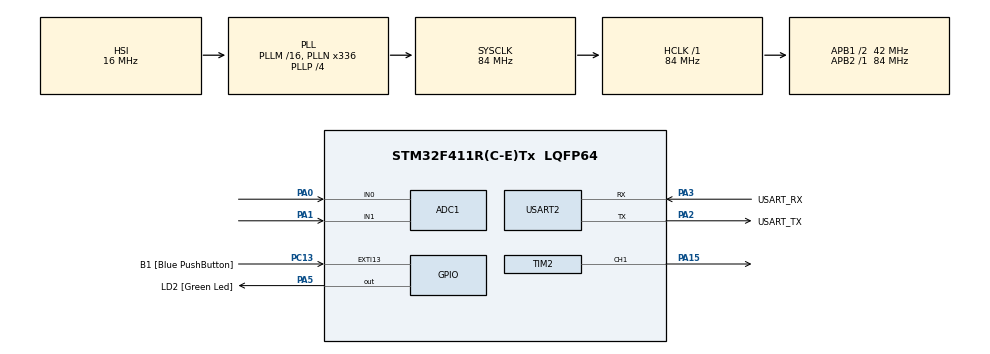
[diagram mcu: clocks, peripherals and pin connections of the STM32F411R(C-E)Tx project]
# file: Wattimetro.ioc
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ADC1.Channel-0\#ChannelRegularConversion=ADC_CHANNEL_0
ADC1.Channel-1\#ChannelInjectedConversion=ADC_CHANNEL_0
ADC1.Channel-2\#ChannelRegularConversion=ADC_CHANNEL_1
ADC1.DMAContinuousRequests=ENABLE
ADC1.EOCSelection=ADC_EOC_SINGLE_CONV
ADC1.ExternalTrigConv=ADC_EXTERNALTRIGCONV_T2_TRGO
ADC1.ExternalTrigConvEdge=ADC_EXTERNALTRIGCONVEDGE_FALLING
ADC1.ExternalTrigInjecConv=ADC_EXTERNALTRIGINJECCONV_T2_TRGO
ADC1.ExternalTrigInjecConvEdge=ADC_EXTERNALTRIGINJECCONVEDGE_RISING
ADC1.InjNumberOfConversion=1
ADC1.InjectedOffset-1\#ChannelInjectedConversion=0
ADC1.InjectedRank-1\#ChannelInjectedConversion=1
ADC1.NbrOfConversion=2
ADC1.NbrOfConversionFlag=1
ADC1.Rank-0\#ChannelRegularConversion=1
ADC1.Rank-2\#ChannelRegularConversion=2
ADC1.SamplingTime-0\#ChannelRegularConversion=ADC_SAMPLETIME_3CYCLES
ADC1.SamplingTime-1\#ChannelInjectedConversion=ADC_SAMPLETIME_3CYCLES
ADC1.SamplingTime-2\#ChannelRegularConversion=ADC_SAMPLETIME_3CYCLES
ADC1.master=1
Dma.ADC1.0.Direction=DMA_PERIPH_TO_MEMORY
Dma.ADC1.0.FIFOMode=DMA_FIFOMODE_ENABLE
Dma.ADC1.0.FIFOThreshold=DMA_FIFO_THRESHOLD_FULL
Dma.ADC1.0.Instance=DMA2_Stream0
Dma.ADC1.0.MemBurst=DMA_MBURST_SINGLE
Dma.ADC1.0.MemDataAlignment=DMA_MDATAALIGN_HALFWORD
Dma.ADC1.0.MemInc=DMA_MINC_ENABLE
Dma.ADC1.0.Mode=DMA_CIRCULAR
Dma.ADC1.0.PeriphBurst=DMA_PBURST_SINGLE
Dma.ADC1.0.PeriphDataAlignment=DMA_PDATAALIGN_HALFWORD
Dma.ADC1.0.PeriphInc=DMA_PINC_DISABLE
Dma.ADC1.0.Priority=DMA_PRIORITY_LOW
Dma.Request0=ADC1
Dma.Request1=USART2_TX
Dma.USART2_TX.1.Direction=DMA_MEMORY_TO_PERIPH
Dma.USART2_TX.1.FIFOMode=DMA_FIFOMODE_ENABLE
Dma.USART2_TX.1.FIFOThreshold=DMA_FIFO_THRESHOLD_FULL
Dma.USART2_TX.1.Instance=DMA1_Stream6
Dma.USART2_TX.1.MemBurst=DMA_MBURST_SINGLE
Dma.USART2_TX.1.MemDataAlignment=DMA_MDATAALIGN_BYTE
Dma.USART2_TX.1.MemInc=DMA_MINC_ENABLE
Dma.USART2_TX.1.Mode=DMA_NORMAL
Dma.USART2_TX.1.PeriphBurst=DMA_PBURST_SINGLE
Dma.USART2_TX.1.PeriphDataAlignment=DMA_PDATAALIGN_BYTE
Dma.USART2_TX.1.PeriphInc=DMA_PINC_DISABLE
Dma.USART2_TX.1.Priority=DMA_PRIORITY_LOW
Mcu.Family=STM32F4
Mcu.Name=STM32F411R(C-E)Tx
Mcu.Package=LQFP64
NVIC.DMA1_Stream6_IRQn=true\:0\:0\:false\:false\:true\:false\:true\:true
NVIC.DMA2_Stream0_IRQn=true\:0\:0\:false\:false\:true\:false\:true\:true
NVIC.PriorityGroup=NVIC_PRIORITYGROUP_0
NVIC.TIM1_UP_TIM10_IRQn=true\:0\:0\:false\:false\:true\:true\:true\:true
NVIC.USART2_IRQn=true\:0\:0\:false\:false\:true\:true\:true\:true
PA0-WKUP.Signal=ADCx_IN0
PA1.Signal=ADCx_IN1
PA13.GPIO_Label=TMS
PA13.Mode=Serial_Wire
PA13.Signal=SYS_JTMS-SWDIO
PA14.GPIO_Label=TCK
PA14.Mode=Serial_Wire
PA14.Signal=SYS_JTCK-SWCLK
PA15.Signal=S_TIM2_CH1_ETR
PA2.GPIO_Label=USART_TX
PA2.Mode=Asynchronous
PA2.Signal=USART2_TX
PA3.GPIO_Label=USART_RX
PA3.Mode=Asynchronous
PA3.Signal=USART2_RX
PA5.GPIO_Label=LD2 [Green Led]
PA5.Signal=GPIO_Output
PB3.GPIO_Label=SWO
PB3.Signal=SYS_JTDO-SWO
PC13-ANTI_TAMP.GPIO_Label=B1 [Blue PushButton]
PC13-ANTI_TAMP.GPIO_ModeDefaultEXTI=GPIO_MODE_IT_FALLING
PC13-ANTI_TAMP.Signal=GPXTI13
PC14-OSC32_IN.Mode=LSE-External-Oscillator
PC14-OSC32_IN.Signal=RCC_OSC32_IN
PC15-OSC32_OUT.Mode=LSE-External-Oscillator
PC15-OSC32_OUT.Signal=RCC_OSC32_OUT
PH0\ -\ OSC_IN.Mode=HSE-External-Clock-Source
PH0\ -\ OSC_IN.Signal=RCC_OSC_IN
PH1\ -\ OSC_OUT.Mode=HSE-External-Clock-Source
PH1\ -\ OSC_OUT.Signal=RCC_OSC_OUT
ProjectManager.HeapSize=0x200
ProjectManager.StackSize=0x400
ProjectManager.TargetToolchain=STM32CubeIDE
RCC.48MHZClocksFreq_Value=84000000
RCC.AHBFreq_Value=84000000
RCC.APB1CLKDivider=RCC_HCLK_DIV2
RCC.APB1Freq_Value=42000000
RCC.APB1TimFreq_Value=84000000
RCC.APB2Freq_Value=84000000
RCC.APB2TimFreq_Value=84000000
RCC.CortexFreq_Value=84000000
RCC.FLatency-AdvancedSettings=FLASH_LATENCY_2
RCC.HCLKFreq_Value=84000000
RCC.HSE_VALUE=8000000
RCC.HSI_VALUE=16000000
RCC.PLLN=336
RCC.PLLP=RCC_PLLP_DIV4
RCC.SYSCLKFreq_VALUE=84000000
RCC.SYSCLKSource=RCC_SYSCLKSOURCE_PLLCLK
RCC.VCOOutputFreq_Value=336000000
SH.ADCx_IN0.0=ADC1_IN0,IN0
SH.ADCx_IN1.0=ADC1_IN1,IN1
SH.S_TIM2_CH1_ETR.0=TIM2_CH1,Output Compare1 CH1
TIM10.Period=30000-1
TIM10.Prescaler=8400-1
TIM2.Channel-Output\ Compare1\ CH1=TIM_CHANNEL_1
TIM2.OCMode_1=TIM_OCMODE_TOGGLE
TIM2.Period=50-1
TIM2.Prescaler=840-1
TIM2.TIM_MasterOutputTrigger=TIM_TRGO_UPDATE
USART2.VirtualMode=VM_ASYNC
USART2.WordLength=WORDLENGTH_9B
VP_TIM10_VS_ClockSourceINT.Mode=Enable_Timer
VP_TIM2_VS_ClockSourceINT.Mode=Internal
board=NUCLEO-F411RE

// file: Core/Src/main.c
/* USER CODE BEGIN Header */
/**
  ******************************************************************************
  * @file           : main.c
  * @brief          : Main program body
  ******************************************************************************
  * @attention
  *
  * Copyright (c) 2023 STMicroelectronics.
  * All rights reserved.
  *
  * This software is licensed under terms that can be found in the LICENSE file
  * in the root directory of this software component.
  * If no LICENSE file comes with this software, it is provided AS-IS.
  *
  ******************************************************************************
  */
/* USER CODE END Header */
#include "main.h"
#include "adc.h"
#include "dma.h"
#include "tim.h"
#include "usart.h"
#include "gpio.h"

/* USER CODE BEGIN Includes */
#include <string.h>
#include <stdio.h>
/* USER CODE END Includes */

/* USER CODE BEGIN PD */
#define AMOSTRAS 64
#define TAM_MSG	300
#define ESCALA  (3.3/4095)
#define CANAIS 2
/* USER CODE END PD */

/* USER CODE BEGIN PM */
volatile uint16_t medidas[(AMOSTRAS/CANAIS)][CANAIS];
uint16_t msg[TAM_MSG];
uint32_t mediaCH0;
uint32_t mediaCH1;
float valorCH0;
float valorCH1;
float tensaoload;
float potencia;
float corrente;
float resistencia;
/* USER CODE END PM */

void SystemClock_Config(void);
/* USER CODE BEGIN PFP */
void HAL_ADC_ConvCpltCallback(ADC_HandleTypeDef* hadc)
{
	mediaCH1=medidas[0][1];
	mediaCH0=medidas[0][0];
	for(int i=1;i<(AMOSTRAS/CANAIS);i++)
	{
		mediaCH1+=medidas[i][1];
		mediaCH0+=medidas[i][0];
	}
	mediaCH0/=(AMOSTRAS/CANAIS);
	valorCH0=mediaCH0*ESCALA;

	mediaCH1/=(AMOSTRAS/CANAIS);
	valorCH1=mediaCH1*ESCALA;

	corrente=(valorCH1*100)*1.06;//mA
	tensaoload=((valorCH0*9.45)-valorCH1);//V
	potencia=(corrente*tensaoload)/1000;//W
	resistencia=(tensaoload/corrente)*1000;//Ohms
}
void HAL_TIM_PeriodElapsedCallback(TIM_HandleTypeDef *htim)
{
	if(htim->Instance == TIM10)
	{
		snprintf(msg,TAM_MSG," Tensao(LOAD) : %1.3f V\n\r Corrente(LOAD) : %1.3f mA\n\r Potencia(LOAD) : %1.3f W\n\r Resistencia(LOAD) : %.0f Ohms\r\n\n\n",tensaoload,corrente,potencia,resistencia);
		HAL_UART_Transmit_DMA(&huart2,msg,strlen(msg));
	}
}
/* USER CODE END PFP */

int main(void)
{

  /* MCU Configuration--------------------------------------------------------*/

  /* Reset of all peripherals, Initializes the Flash interface and the Systick. */
  HAL_Init();

  /* Configure the system clock */
  SystemClock_Config();

  /* Initialize all configured peripherals */
  MX_GPIO_Init();
  MX_DMA_Init();
  MX_USART2_UART_Init();
  MX_ADC1_Init();
  MX_TIM2_Init();
  MX_TIM10_Init();
  /* USER CODE BEGIN 2 */

  HAL_TIM_OC_Start(&htim2, TIM_CHANNEL_1);
  HAL_TIM_Base_Start_IT(&htim10);
  HAL_ADC_Start_DMA(&hadc1, (uint32_t*)medidas, AMOSTRAS);

  strncpy(msg," Wattimetro \r\n by Arthur Rodrigues Padilha & Bernardo Rodrigues da Silva/4411\n\n",TAM_MSG);
  HAL_UART_Transmit_DMA(&huart2, msg, strlen(msg));
  /* USER CODE END 2 */

  /* Infinite loop */
  while (1)
  {

  }
}

void SystemClock_Config(void)
{
  RCC_OscInitTypeDef RCC_OscInitStruct = {0};
  RCC_ClkInitTypeDef RCC_ClkInitStruct = {0};

  /** Configure the main internal regulator output voltage
  */
  __HAL_RCC_PWR_CLK_ENABLE();
  __HAL_PWR_VOLTAGESCALING_CONFIG(PWR_REGULATOR_VOLTAGE_SCALE1);

  /** Initializes the RCC Oscillators according to the specified parameters
  * in the RCC_OscInitTypeDef structure.
  */
  RCC_OscInitStruct.OscillatorType = RCC_OSCILLATORTYPE_HSI;
  RCC_OscInitStruct.HSIState = RCC_HSI_ON;
  RCC_OscInitStruct.HSICalibrationValue = RCC_HSICALIBRATION_DEFAULT;
  RCC_OscInitStruct.PLL.PLLState = RCC_PLL_ON;
  RCC_OscInitStruct.PLL.PLLSource = RCC_PLLSOURCE_HSI;
  RCC_OscInitStruct.PLL.PLLM = 16;
  RCC_OscInitStruct.PLL.PLLN = 336;
  RCC_OscInitStruct.PLL.PLLP = RCC_PLLP_DIV4;
  RCC_OscInitStruct.PLL.PLLQ = 4;
  if (HAL_RCC_OscConfig(&RCC_OscInitStruct) != HAL_OK)
  {
    Error_Handler();
  }

  /** Initializes the CPU, AHB and APB buses clocks
  */
  RCC_ClkInitStruct.ClockType = RCC_CLOCKTYPE_HCLK|RCC_CLOCKTYPE_SYSCLK
                              |RCC_CLOCKTYPE_PCLK1|RCC_CLOCKTYPE_PCLK2;
  RCC_ClkInitStruct.SYSCLKSource = RCC_SYSCLKSOURCE_PLLCLK;
  RCC_ClkInitStruct.AHBCLKDivider = RCC_SYSCLK_DIV1;
  RCC_ClkInitStruct.APB1CLKDivider = RCC_HCLK_DIV2;
  RCC_ClkInitStruct.APB2CLKDivider = RCC_HCLK_DIV1;

  if (HAL_RCC_ClockConfig(&RCC_ClkInitStruct, FLASH_LATENCY_2) != HAL_OK)
  {
    Error_Handler();
  }
}

void Error_Handler(void)
{
  __disable_irq();
  while (1)
  {
  }
}
